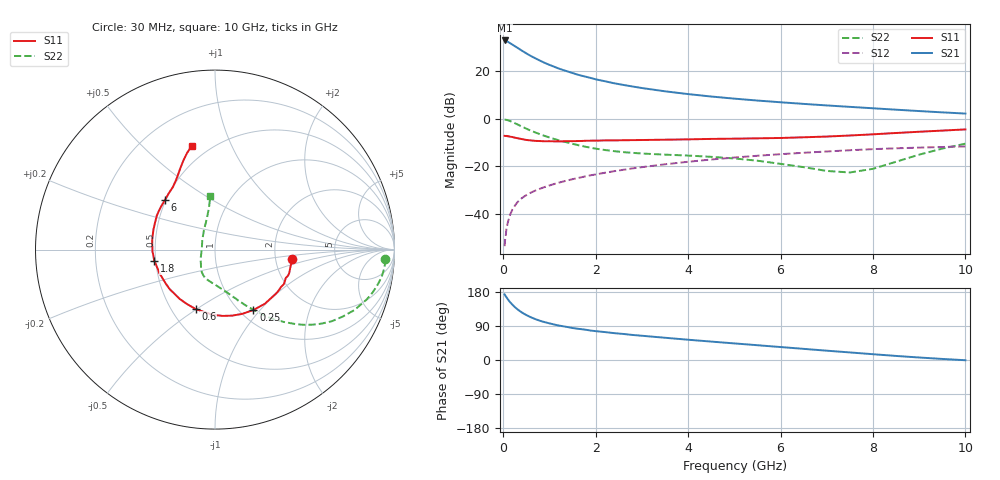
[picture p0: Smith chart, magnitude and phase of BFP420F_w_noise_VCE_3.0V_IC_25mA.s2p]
! Infineon Technologies  Discrete & RF Semiconductors
! BFP420F
! VCE =  3.0 V,  IC =  25 mA
! Common Emitter S-Parameters:  Sep 2011
# GHz  S  MA  R  50
!  f  S11  S21  S12  S22
! GHz  MAG  ANG  MAG  ANG  MAG  ANG  MAG  ANG
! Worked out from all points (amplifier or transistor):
!   54 points, 30 MHz to 10 GHz, reference 50 ohm
!   highest |S21| = 32.8 dB at 30 MHz (marker M1)
!   |S21| within 3 dB of that: start of sweep to 302 MHz
!   unconditionally stable (mu >= 1): 1.568 GHz to end of sweep
!   at 120 MHz: K = 0.30, MSG = 37.2 dB, |S12| = -42.3 dB
!   at 1.3 GHz: K = 0.93, MSG = 23.4 dB, |S12| = -26.4 dB
!   at 10 GHz: K = 1.23, MAG = 4.0 dB, |S12| = -11.7 dB
!   lowest NFmin = 1.66 dB at 450 MHz
!   S11 on the Smith chart (normalised r, x): 30 MHz: 2.49, -0.33; 250 MHz: 1.15, -0.92; 600 MHz: 0.66, -0.49; 1.8 GHz: 0.49, -0.07; 6 GHz: 0.49, +0.32; 10 GHz: 0.40, +0.72
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0.03  0.4346 -7.1  43.74 173.1  0.0021 89.1  0.9504 -3.3
0.05  0.4313 -11.9  42.87 168.9  0.0032 82.2  0.9486 -6.1
0.07  0.4338 -17.8  42.41 165.7  0.005 84.0  0.9418 -8.9
0.12  0.4227 -29.5  40.03 156.8  0.0077 81.3  0.9108 -15.1
0.2  0.4101 -47.4  35.77 145.9  0.0124 75.4  0.8472 -23.4
0.25  0.3989 -57.5  33.21 139.8  0.0147 72.5  0.8031 -27.7
0.3  0.389 -66.9  31.06 134.6  0.0173 70.6  0.7627 -31.6
0.4  0.3722 -83.1  26.85 125.7  0.0213 68.0  0.6839 -37.7
0.5  0.3568 -96.5  23.43 118.6  0.0248 65.9  0.6157 -42.5
0.6  0.3481 -108.1  20.59 112.7  0.028 64.9  0.5569 -46.4
0.8  0.3379 -126.0  16.41 103.3  0.0339 63.8  0.4682 -52.5
1  0.3351 -138.8  13.45 96.7  0.0395 63.6  0.4018 -57.2
1.2  0.3332 -149.0  11.27 91.0  0.0451 63.4  0.3516 -61.5
1.7  0.3396 -166.6  7.947 81.2  0.059 62.8  0.2662 -71.1
1.8  0.3435 -169.1  7.524 79.6  0.0619 62.8  0.2545 -73.2
2.4  0.3488 178.1  5.524 70.9  0.0788 60.9  0.2076 -85.1
3.5  0.3612 161.5  3.746 58.7  0.1099 56.4  0.1752 -102.6
5.5  0.3853 140.8  2.396 39.0  0.166 44.7  0.1307 -126.5
6  0.3923 135.4  2.204 34.2  0.1793 41.6  0.1123 -134.3
7  0.4203 123.9  1.892 24.6  0.2043 35.0  0.0797 -163.8
8.5  0.4991 112.4  1.54 10.7  0.2381 24.2  0.1245 119.7
10  0.5938 102.4  1.277 -0.6  0.261 14.9  0.298 94.9
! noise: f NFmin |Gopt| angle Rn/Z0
0.45  1.66  0.23  -177  0.1
0.9  1.68  0.25  -175  0.13
1.9  1.81  0.32  -166  0.14
2.4  1.87  0.32  -160  0.12
3.5  2.1  0.32  -151  0.17
